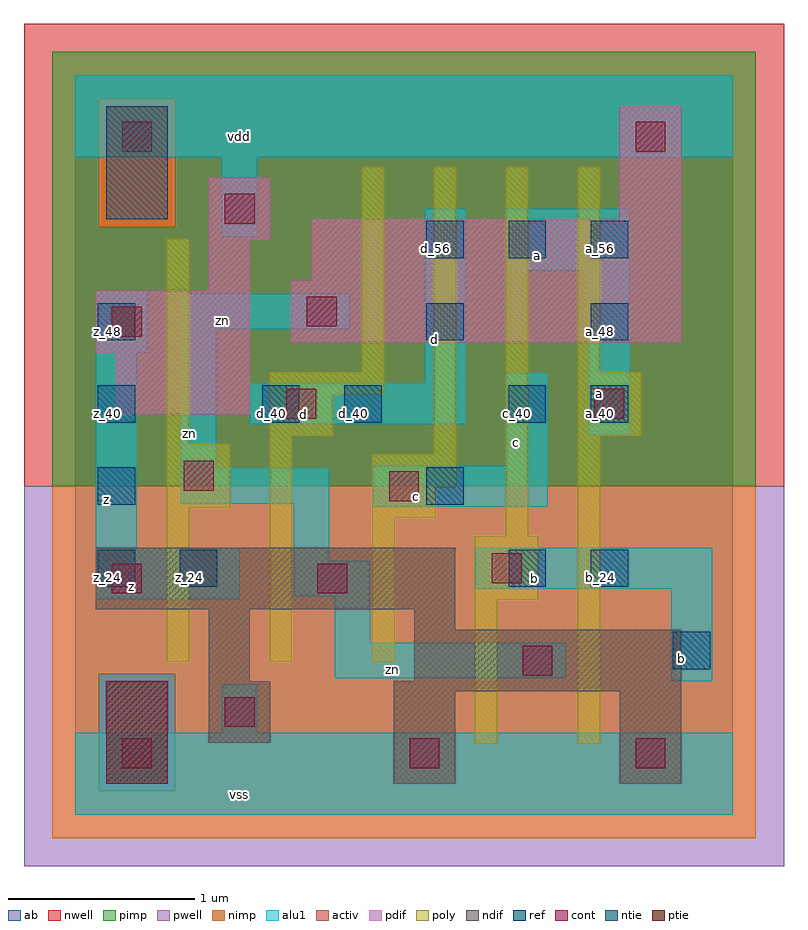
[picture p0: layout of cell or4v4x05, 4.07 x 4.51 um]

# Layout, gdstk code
import gdstk
lib = gdstk.Library(unit=1e-6, precision=2.5e-09)
def R(c, l, rs):  # rectangles x0, y0, x1, y1
    for r in rs: c.add(gdstk.rectangle(r[:2], r[2:], *l))
def A(c, l, x, y, w, h, nx, ny, dx, dy):  # array of equal rectangles
    R(c, l, [(x+i*dx, y+j*dy, x+i*dx+w, y+j*dy+h) for i in range(nx) for j in range(ny)])
ndif = (3, 0)
pdif = (4, 0)
ntie = (5, 0)
ptie = (6, 0)
ref = (24, 0)
cont = (25, 0)
pwell = (41, 0)
nwell = (42, 0)
activ = (43, 0)
pimp = (44, 0)
nimp = (45, 0)
poly = (46, 0)
alu1 = (49, 0)
ab = (63, 0)

or4v4x05 = lib.new_cell('or4v4x05')
R(or4v4x05, ndif, [(1.705,0.165,2.035,0.66), (2.915,0.165,3.245,0.66), (0.715,0.385,1.045,0.715), (1.705,0.66,3.245,0.715), (0.715,0.715,0.935,1.1), (1.815,0.715,3.245,0.99), (1.815,0.99,2.035,1.1), (0.11,1.1,2.035,1.43)])
R(or4v4x05, pdif, [(0.22,2.145,0.935,2.475), (0.11,2.475,0.935,2.805), (1.155,2.53,3.245,2.86), (0.715,2.805,0.935,3.08), (1.265,2.86,3.245,3.19), (0.715,3.08,1.045,3.41), (2.915,3.19,3.245,3.795)])
R(or4v4x05, ntie, [(0.165,3.19,0.495,3.795)])
R(or4v4x05, ptie, [(0.165,0.165,0.495,0.715)])
A(or4v4x05, ref, 0.12, 1.22, 0.2, 0.2, 1, 4, 0, 0.44)
A(or4v4x05, ref, 1.88, 2.98, 0.2, 0.2, 3, 1, 0.44, 0)
R(or4v4x05, ref, [(3.2,0.78,3.4,0.98), (0.56,1.22,0.76,1.42), (2.32,1.22,2.52,1.42), (2.76,1.22,2.96,1.42), (1.88,1.66,2.08,1.86), (1,2.1,1.2,2.3), (1.44,2.1,1.64,2.3), (2.32,2.1,2.52,2.3), (2.76,2.1,2.96,2.3), (1.88,2.54,2.08,2.74), (2.76,2.54,2.96,2.74)])
R(or4v4x05, cont, [(0.25,0.25,0.41,0.41), (1.79,0.25,1.95,0.41), (3,0.25,3.16,0.41), (0.8,0.47,0.96,0.63), (2.395,0.745,2.555,0.905), (0.195,1.185,0.355,1.345), (1.295,1.185,1.455,1.345), (2.23,1.24,2.39,1.4), (1.68,1.68,1.84,1.84), (0.58,1.735,0.74,1.895), (1.13,2.12,1.29,2.28), (2.78,2.12,2.94,2.28), (0.195,2.56,0.355,2.72), (1.24,2.615,1.4,2.775), (0.8,3.165,0.96,3.325), (0.25,3.55,0.41,3.71), (3,3.55,3.16,3.71)])
R(or4v4x05, pwell, [(-0.275,-0.275,3.795,1.76)])
R(or4v4x05, nwell, [(-0.275,1.76,3.795,4.235)])
R(or4v4x05, activ, [(0.165,0.165,0.495,0.715), (1.705,0.165,2.035,0.66), (2.915,0.165,3.245,0.66), (0.715,0.385,1.045,0.715), (1.705,0.66,3.245,0.715), (0.715,0.715,0.935,1.1), (1.815,0.715,3.245,0.99), (1.815,0.99,2.035,1.1), (0.11,1.1,2.035,1.43), (0.22,2.145,0.935,2.475), (0.11,2.475,0.935,2.805), (1.155,2.53,3.245,2.86), (0.715,2.805,0.935,3.08), (1.265,2.86,3.245,3.19), (0.715,3.08,1.045,3.41), (0.165,3.19,0.495,3.795), (2.915,3.19,3.245,3.795)])
R(or4v4x05, pimp, [(0.125,0.125,0.535,0.755), (-0.125,1.76,3.645,3.15), (-0.125,3.15,0.125,3.835), (0.535,3.15,3.645,3.835), (-0.125,3.835,3.645,4.085)])
R(or4v4x05, nimp, [(-0.125,-0.125,3.645,0.125), (-0.125,0.125,0.125,0.755), (0.535,0.125,3.645,0.755), (-0.125,0.755,3.645,1.76), (0.125,3.15,0.535,3.835)])
R(or4v4x05, poly, [(2.14,0.38,2.26,1.15), (2.69,0.38,2.81,2.03), (0.49,0.82,0.61,1.645), (1.04,0.82,1.16,2.03), (1.59,0.82,1.71,1.59), (2.14,1.15,2.48,1.49), (2.305,1.49,2.425,3.47), (1.59,1.59,1.93,1.755), (0.49,1.645,0.83,1.985), (1.59,1.755,2.04,1.93), (1.92,1.93,2.04,3.47), (0.49,1.985,0.61,3.085), (1.04,2.03,1.38,2.25), (2.69,2.03,3.03,2.37), (1.04,2.25,1.655,2.37), (1.535,2.37,1.655,3.47), (2.69,2.37,2.81,3.47)])
R(or4v4x05, alu1, [(0,0,3.52,0.44), (0.785,0.44,0.975,0.7), (3.19,0.715,3.41,1.21), (1.39,0.73,2.625,0.92), (1.39,0.92,1.58,1.17), (0.11,1.155,0.88,1.43), (1.17,1.17,1.58,1.36), (2.145,1.21,3.41,1.43), (1.17,1.36,1.36,1.665), (0.11,1.43,0.33,2.475), (1.595,1.65,2.53,1.87), (0.565,1.665,1.36,1.855), (0.565,1.855,0.755,2.6), (2.31,1.87,2.53,2.365), (2.75,2.035,2.97,2.915), (0.935,2.09,2.09,2.31), (1.87,2.31,2.09,3.245), (0.11,2.475,0.385,2.805), (0.565,2.6,1.47,2.79), (2.31,2.915,2.97,3.245), (0.785,3.095,0.975,3.52), (0,3.52,3.52,3.96)])
R(or4v4x05, ab, [(0,0,3.52,3.96)])
or4v4x05.add(gdstk.Label('vss', (0.88,0.11), layer=49, texttype=0))
or4v4x05.add(gdstk.Label('b', (3.245,0.8375), layer=49, texttype=0))
or4v4x05.add(gdstk.Label('zn', (1.6975,0.7775), layer=49, texttype=0))
or4v4x05.add(gdstk.Label('b', (2.46,1.265), layer=49, texttype=0))
or4v4x05.add(gdstk.Label('c', (1.8275,1.705), layer=49, texttype=0))
or4v4x05.add(gdstk.Label('z', (0.3025,1.2225), layer=49, texttype=0))
or4v4x05.add(gdstk.Label('a', (2.805,2.255), layer=49, texttype=0))
or4v4x05.add(gdstk.Label('c', (2.365,1.9925), layer=49, texttype=0))
or4v4x05.add(gdstk.Label('d', (1.2225,2.145), layer=49, texttype=0))
or4v4x05.add(gdstk.Label('a', (2.475,2.9975), layer=49, texttype=0))
or4v4x05.add(gdstk.Label('d', (1.925,2.5425), layer=49, texttype=0))
or4v4x05.add(gdstk.Label('zn', (0.6125,2.04), layer=49, texttype=0))
or4v4x05.add(gdstk.Label('z', (0.165,1.69), layer=49, texttype=0))
or4v4x05.add(gdstk.Label('zn', (0.79,2.6475), layer=49, texttype=0))
or4v4x05.add(gdstk.Label('vdd', (0.88,3.63), layer=49, texttype=0))
or4v4x05.add(gdstk.Label('z_24', (0.61,1.27), layer=24, texttype=0))
or4v4x05.add(gdstk.Label('d_40', (1.05,2.15), layer=24, texttype=0))
or4v4x05.add(gdstk.Label('d_40', (1.49,2.15), layer=24, texttype=0))
or4v4x05.add(gdstk.Label('c_32', (1.93,1.71), layer=24, texttype=0))
or4v4x05.add(gdstk.Label('d_48', (1.93,2.59), layer=24, texttype=0))
or4v4x05.add(gdstk.Label('d_56', (1.93,3.03), layer=24, texttype=0))
or4v4x05.add(gdstk.Label('z_24', (0.17,1.27), layer=24, texttype=0))
or4v4x05.add(gdstk.Label('z_32', (0.17,1.71), layer=24, texttype=0))
or4v4x05.add(gdstk.Label('z_40', (0.17,2.15), layer=24, texttype=0))
or4v4x05.add(gdstk.Label('z_48', (0.17,2.59), layer=24, texttype=0))
or4v4x05.add(gdstk.Label('b_24', (2.37,1.27), layer=24, texttype=0))
or4v4x05.add(gdstk.Label('c_40', (2.37,2.15), layer=24, texttype=0))
or4v4x05.add(gdstk.Label('a_56', (2.37,3.03), layer=24, texttype=0))
or4v4x05.add(gdstk.Label('b_24', (2.81,1.27), layer=24, texttype=0))
or4v4x05.add(gdstk.Label('a_40', (2.81,2.15), layer=24, texttype=0))
or4v4x05.add(gdstk.Label('a_48', (2.81,2.59), layer=24, texttype=0))
or4v4x05.add(gdstk.Label('a_56', (2.81,3.03), layer=24, texttype=0))
or4v4x05.add(gdstk.Label('b_16', (3.25,0.83), layer=24, texttype=0))

lib.write_gds('or4v4x05.gds')
